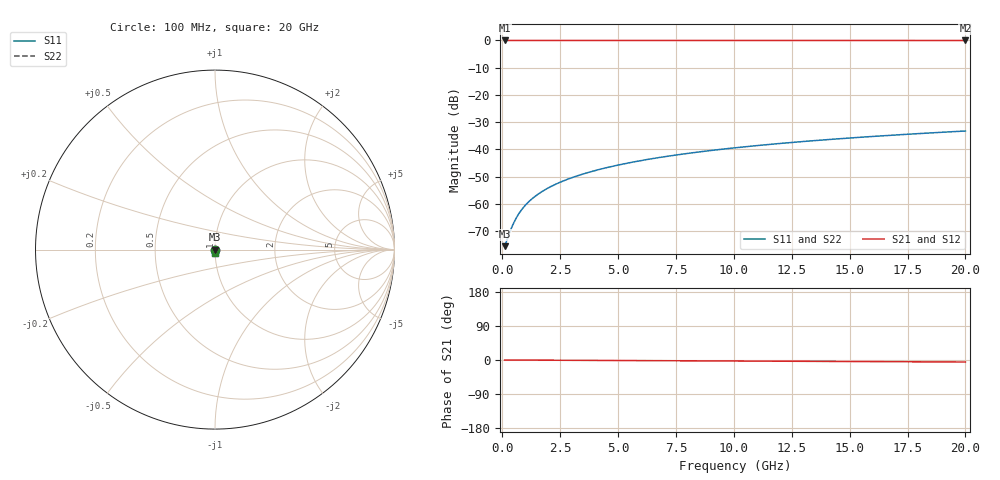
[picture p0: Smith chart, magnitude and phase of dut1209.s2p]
! Touchstone file exported from HFSS 2026.1.0
!  File:  C:/ffzhzh/LocalFiles/Ansys_Project_Files/temp_train_TSV_1209_1783192815_18472.aedt
!  Generated:  03:21:44 AM Jul  5, 2026
!  Design:  TSV
!  Project:  temp_train_TSV_1209_1783192815_18472
! Variables:
!  h_bsmrdl = 2um
!  h_ox = 20um
!  h_rdl = 5um
!  h_sub = 53.05um
!  h_tmrdl = 5um
!  h_tsv = 53.05um
!  h_via = 3um
!  l_bsmrdl = 300um
!  l_sub = 414.94um
!  l_tmrdl = 200um
!  m_sub = 200um
!  pitch = 24.09um
!  r_tsv = 7.47um
!  s_tmrdl = 10um
!  w_bsmrdl = 18um
!  w_sub = 500um
!  w_tmrdl = 12um
!  x_tsv_center1 = 206um
!  x_tsv_center2 = 524um
!  x_tsv_center3 = 736um
!  x_tsv_center4 = 1054um
!  x_tsv_center5 = 1266um
!  x_tsv_center6 = 1584um
# GHz S MA R 50.000000
! Terminal data exported
! Port[1] = TSV1_1_T1
! Port[2] = TSV1_1_T2
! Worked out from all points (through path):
!   200 points, 100 MHz to 20 GHz, reference 50 ohm
!   highest |S21| = 0.00 dB at 100 MHz (marker M1); lowest = 0.0 dB at 20 GHz (marker M2)
!   lowest |S11| = -75.6 dB at 100 MHz (marker M3), VSWR 1.00, Z = 50 - j0.00659 ohm
!   |S11| at or under -10 dB: start of sweep to end of sweep
!   |S22| runs from -75.6 to -33.3 dB; largest |S21 - S12| = 3.6e-15
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0.1  0.0001664 -23.3  0.9998 -0.0  0.9998 -0.0  0.0001664 -23.3
! Gamma 0 0 0 0
! Port Impedance 50 0 50 0
0.3  0.0002835 -48.7  0.9998 -0.1  0.9998 -0.1  0.0002835 -48.7
0.4  0.0003638 -54.8  0.9998 -0.1  0.9998 -0.1  0.0003638 -54.8
0.5  0.0004521 -59.1  0.9998 -0.1  0.9998 -0.1  0.0004521 -59.1
0.6  0.0005458 -62.4  0.9997 -0.2  0.9997 -0.2  0.0005458 -62.4
0.7  0.0006428 -65.0  0.9997 -0.2  0.9997 -0.2  0.0006428 -65.0
0.9  0.0008425 -69.0  0.9997 -0.3  0.9997 -0.3  0.0008425 -69.0
1.2  0.001148 -73.0  0.9997 -0.3  0.9997 -0.3  0.001148 -73.0
1.4  0.001353 -74.9  0.9996 -0.4  0.9996 -0.4  0.001353 -74.9
1.6  0.001558 -76.4  0.9996 -0.4  0.9996 -0.4  0.001558 -76.4
2.1  0.002073 -79.0  0.9996 -0.6  0.9996 -0.6  0.002073 -79.0
2.7  0.002696 -80.9  0.9995 -0.7  0.9995 -0.7  0.002696 -80.9
3.5  0.003536 -82.5  0.9995 -0.9  0.9995 -0.9  0.003536 -82.5
4.2  0.00428 -83.5  0.9994 -1.1  0.9994 -1.1  0.00428 -83.5
5  0.00514 -84.4  0.9994 -1.3  0.9994 -1.3  0.005139 -84.4
5.9  0.006115 -85.2  0.9993 -1.6  0.9993 -1.6  0.006115 -85.2
6.8  0.007097 -85.8  0.9992 -1.8  0.9992 -1.8  0.007097 -85.8
8.3  0.008743 -86.9  0.9991 -2.2  0.9991 -2.2  0.008743 -86.9
10.1  0.01073 -87.9  0.999 -2.7  0.999 -2.7  0.01073 -87.9
13.4  0.01437 -89.5  0.9989 -3.6  0.9989 -3.6  0.01437 -89.5
16.7  0.01803 -90.8  0.9987 -4.4  0.9987 -4.4  0.01803 -90.8
20  0.02171 -91.9  0.9985 -5.3  0.9985 -5.3  0.02171 -91.9
